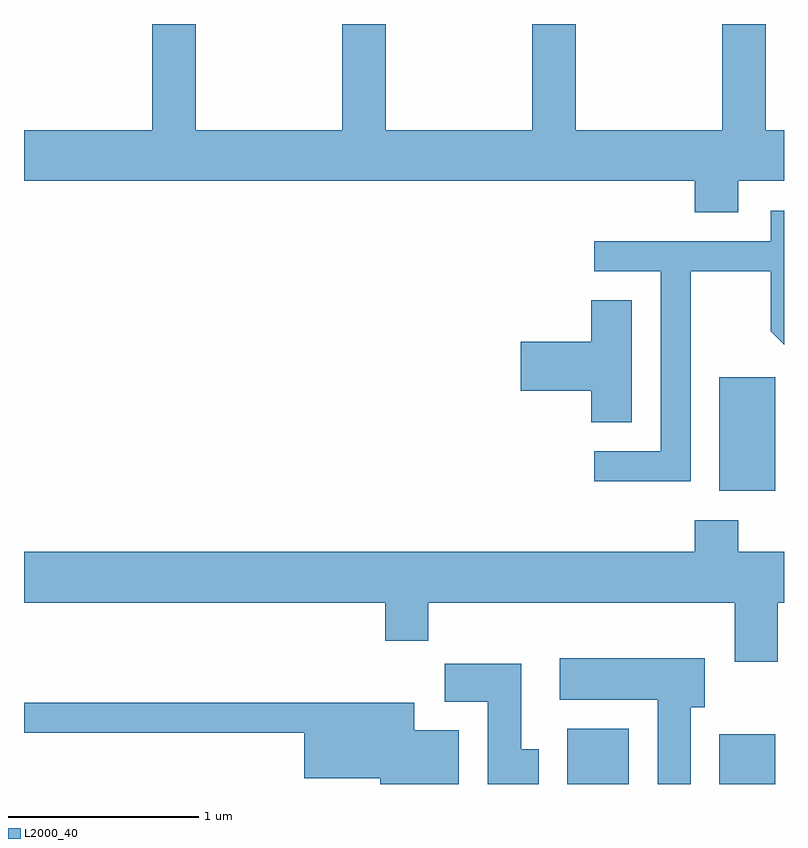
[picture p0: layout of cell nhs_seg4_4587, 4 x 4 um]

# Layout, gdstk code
import gdstk
lib = gdstk.Library(unit=1e-6, precision=1e-09)
def R(c, l, rs):  # rectangles x0, y0, x1, y1
    for r in rs: c.add(gdstk.rectangle(r[:2], r[2:], *l))
def P(c, l, *ps):  # polygons
    for p in ps: c.add(gdstk.Polygon(p, *l))
L2000_40 = (2000, 40)

nhs_seg4_4587 = lib.new_cell('nhs_seg4_4587')
R(nhs_seg4_4587, L2000_40, [(322.471,1315.982,322.794,1316.274), (323.271,1315.982,323.564,1316.244), (323.271,1317.526,323.564,1318.124)])
P(nhs_seg4_4587, L2000_40, [(323.369,1319.156),(323.611,1319.156),(323.611,1319.424),(323.514,1319.424),(323.514,1319.982),(323.286,1319.982),(323.286,1319.424),(322.514,1319.424),(322.514,1319.982),(322.286,1319.982),(322.286,1319.424),(321.514,1319.424),(321.514,1319.982),(321.286,1319.982),(321.286,1319.424),(320.514,1319.424),(320.514,1319.982),(320.286,1319.982),(320.286,1319.424),(319.611,1319.424),(319.611,1319.156),(323.141,1319.156),(323.141,1318.991),(323.369,1318.991)],
  [(323.119,1318.681),(323.541,1318.681),(323.541,1318.364),(323.611,1318.294),(323.611,1318.999),(323.541,1318.999),(323.541,1318.839),(322.613,1318.839),(322.613,1318.681),(322.961,1318.681),(322.961,1317.734),(322.613,1317.734),(322.613,1317.576),(323.119,1317.576)],
  [(322.809,1318.529),(322.596,1318.529),(322.596,1318.309),(322.226,1318.309),(322.226,1318.051),(322.596,1318.051),(322.596,1317.886),(322.809,1317.886)],
  [(323.369,1317.369),(323.141,1317.369),(323.141,1317.204),(319.611,1317.204),(319.611,1316.936),(321.511,1316.936),(321.511,1316.736),(321.739,1316.736),(321.739,1316.936),(323.351,1316.936),(323.351,1316.626),(323.579,1316.626),(323.579,1316.936),(323.611,1316.936),(323.611,1317.204),(323.369,1317.204)],
  [(323.119,1316.386),(323.194,1316.386),(323.194,1316.644),(322.431,1316.644),(322.431,1316.426),(322.946,1316.426),(322.946,1315.982),(323.119,1315.982)],
  [(322.319,1316.164),(322.229,1316.164),(322.229,1316.614),(321.826,1316.614),(321.826,1316.416),(322.051,1316.416),(322.051,1315.982),(322.319,1315.982)],
  [(321.899,1316.264),(321.664,1316.264),(321.664,1316.409),(319.611,1316.409),(319.611,1316.251),(321.086,1316.251),(321.086,1316.011),(321.486,1316.011),(321.486,1315.982),(321.899,1315.982)])

lib.write_gds('nhs_seg4_4587.gds')
